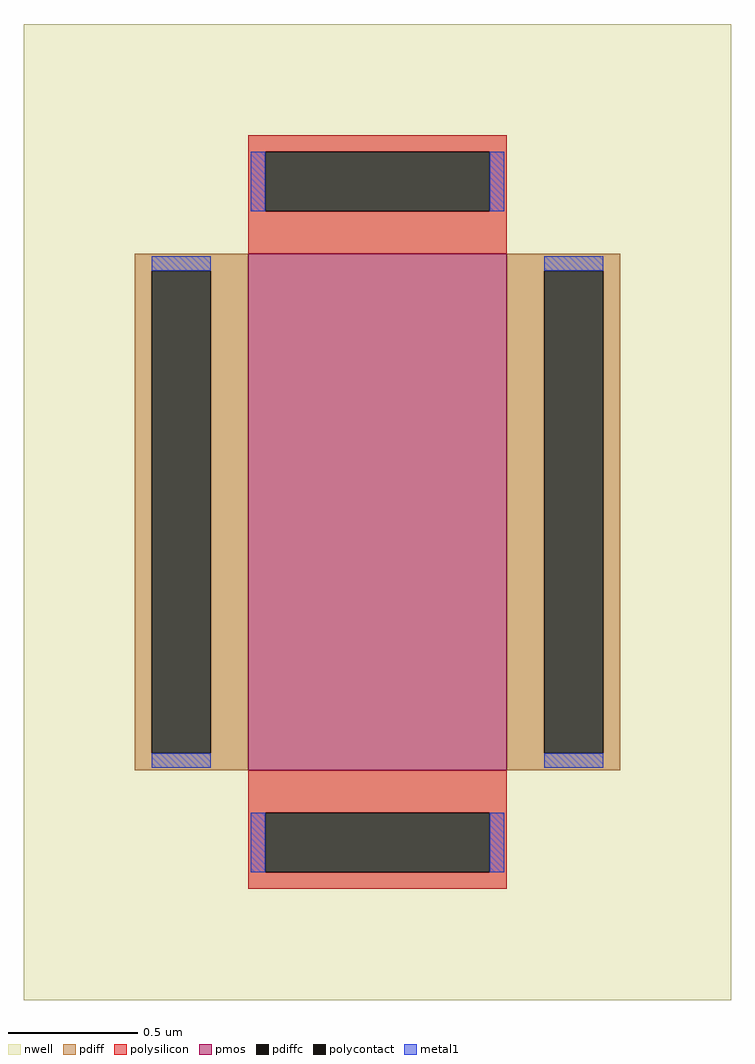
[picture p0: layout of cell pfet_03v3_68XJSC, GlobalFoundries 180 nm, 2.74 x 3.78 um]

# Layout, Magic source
magic
tech gf180mcuD
magscale 1 10
<< nwell >>
rect -274 -378 274 378
<< pmos >>
rect -100 -200 100 200
<< pdiff >>
rect -188 187 -100 200
rect -188 -187 -175 187
rect -129 -187 -100 187
rect -188 -200 -100 -187
rect 100 187 188 200
rect 100 -187 129 187
rect 175 -187 188 187
rect 100 -200 188 -187
<< pdiffc >>
rect -175 -187 -129 187
rect 129 -187 175 187
<< polysilicon >>
rect -100 279 100 292
rect -100 233 -87 279
rect 87 233 100 279
rect -100 200 100 233
rect -100 -233 100 -200
rect -100 -279 -87 -233
rect 87 -279 100 -233
rect -100 -292 100 -279
<< polycontact >>
rect -87 233 87 279
rect -87 -279 87 -233
<< metal1 >>
rect -98 233 -87 279
rect 87 233 98 279
rect -175 187 -129 198
rect -175 -198 -129 -187
rect 129 187 175 198
rect 129 -198 175 -187
rect -98 -279 -87 -233
rect 87 -279 98 -233
<< properties >>
string gencell pfet_03v3
string library gf180mcu
string parameters w 2 l 1 m 1 nf 1 diffcov 100 polycov 100 guard 0 glc 0 grc 0 gtc 0 gbc 0 tbcov 100 rlcov 100 topc 1 botc 1 poverlap 0 doverlap 1 lmin 0.28 wmin 0.22 class mosfet full_metal 0 compatible {pfet_03v3 pfet_05v0 pfet_06v0}
<< end >>
